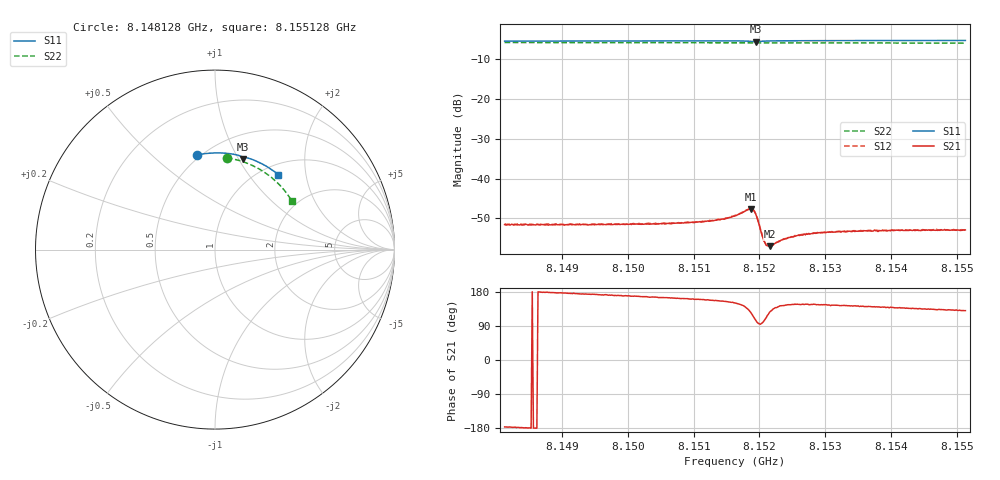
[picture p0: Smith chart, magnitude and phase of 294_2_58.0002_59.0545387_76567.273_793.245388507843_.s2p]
#  HZ  S  RI  R  50.00
! Rohde & Schwarz Vector Network Analyzer
! Rohde-Schwarz,ZNB20-2Port,1311601062101988,3.16
! Created: UTC 3/21/2024, 1:03:24 AM
! freq[Hz]  re:S11  im:S11  re:S21  im:S21  re:S12  im:S12  re:S22  im:S22
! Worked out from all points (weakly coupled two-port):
!   401 points, 8.148128 GHz to 8.155128 GHz, reference 50 ohm
!   highest |S21| = -47.60 dB at 8.151873 GHz (marker M1); lowest = -57.0 dB at 8.152153 GHz (marker M2)
!   lowest |S11| = -5.5 dB at 8.151943 GHz (marker M3), VSWR 3.25, Z = 37.2 + j52.3 ohm
!   |S11| at or under -10 dB: nowhere
!   |S22| runs from -5.9 to -5.8 dB; largest |S21 - S12| = 0.00011
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8.1481281e9  -0.1008 0.5267  -0.00264 -0.000161  -0.00268 -0.00012  0.067 0.5111
8.1493005e9  -0.0199 0.5381  -0.00263 0.000274  -0.00262 0.0003  0.1416 0.4945
8.1504729e9  0.0619 0.5367  -0.0026 0.000713  -0.00265 0.000748  0.2125 0.467
8.1511904e9  0.1121 0.5295  -0.0027 0.00107  -0.00271 0.00111  0.2533 0.445
8.1514354e9  0.1296 0.5256  -0.00282 0.00129  -0.0028 0.00135  0.2669 0.4367
8.1516279e9  0.1437 0.5213  -0.00296 0.00166  -0.00297 0.00175  0.2772 0.4296
8.1518203e9  0.1575 0.5125  -0.00285 0.00289  -0.00281 0.00294  0.2872 0.4226
8.1518728e9  0.159 0.5083  -0.00234 0.00345  -0.00231 0.00351  0.2898 0.4206
8.1519078e9  0.1584 0.5061  -0.00166 0.00363  -0.00162 0.00373  0.2916 0.4191
8.1519428e9  0.157 0.5056  -0.00091 0.00347  -0.000849 0.0035  0.2932 0.4179
8.1519778e9  0.1563 0.5071  -0.00037 0.00291  -0.000333 0.00298  0.295 0.4169
8.1520303e9  0.1582 0.5101  -0.000227 0.00203  -0.000187 0.00207  0.2976 0.4149
8.1520653e9  0.1609 0.5115  -0.000356 0.00162  -0.000351 0.00167  0.2994 0.4136
8.1521003e9  0.1638 0.5123  -0.000529 0.00136  -0.000563 0.00137  0.3013 0.4123
8.1521528e9  0.1682 0.5126  -0.000833 0.00114  -0.000828 0.00117  0.304 0.4103
8.1523453e9  0.1835 0.51  -0.00137 0.00101  -0.00137 0.00103  0.3137 0.4026
8.1524678e9  0.1922 0.5073  -0.00151 0.00103  -0.00149 0.00107  0.3199 0.3977
8.1525728e9  0.1996 0.505  -0.00162 0.00104  -0.00162 0.0011  0.3249 0.3933
8.1528003e9  0.2146 0.4993  -0.0017 0.00113  -0.0017 0.00118  0.3358 0.3836
8.1531853e9  0.2398 0.4887  -0.00175 0.00126  -0.00173 0.0013  0.3535 0.3667
8.1539727e9  0.2882 0.4632  -0.00165 0.0015  -0.00165 0.0015  0.387 0.3294
8.1551276e9  0.3533 0.4176  -0.00146 0.00173  -0.00146 0.00174  0.4287 0.2696
